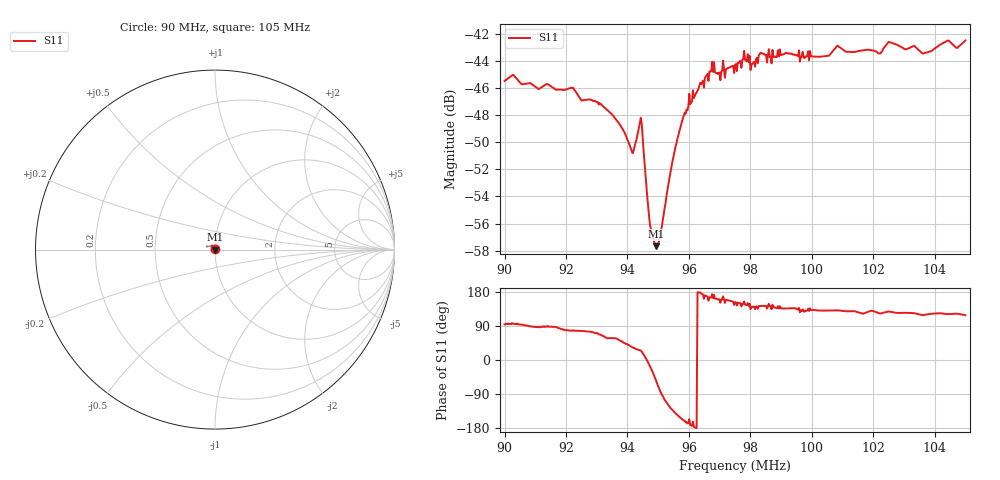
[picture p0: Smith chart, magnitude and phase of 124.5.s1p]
# HZ S RI R 50
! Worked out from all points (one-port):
!   505 points, 90 MHz to 105 MHz, reference 50 ohm
!   lowest |S11| = -57.7 dB at 94.94 MHz (marker M1), VSWR 1.00, Z = 50.1 - j0.109 ohm
!   |S11| at or under -10 dB: start of sweep to end of sweep
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9e7  -0.000378 0.0053
9.026786e7  -0.000558 0.00557
9.187501e7  0.000779 0.00487
9.309525e7  0.00169 0.00407
9.375001e7  0.00227 0.00288
9.416668e7  0.00242 0.00157
9.443454e7  0.00353 0.00163
9.449406e7  0.00312 0.00101
9.473216e7  0.0015 -0.000449
9.494049e7  0.000723 -0.00109
9.505954e7  0.000218 -0.0014
9.562502e7  -0.00268 -0.00185
9.607145e7  -0.00438 -0.000558
9.675597e7  -0.00621 0.000691
9.696431e7  -0.00536 0.00193
9.750002e7  -0.00541 0.00279
9.785717e7  -0.00519 0.00358
9.80655e7  -0.00472 0.00394
9.836312e7  -0.00538 0.00405
9.937503e7  -0.00481 0.00458
1.00506e8  -0.00424 0.00502
1.008631e8  -0.00468 0.00538
1.0125e8  -0.00424 0.00531
1.022024e8  -0.00365 0.00562
1.025298e8  -0.00451 0.00585
1.03125e8  -0.00394 0.00577
1.036608e8  -0.00326 0.00588
1.05e8  -0.00356 0.00659
